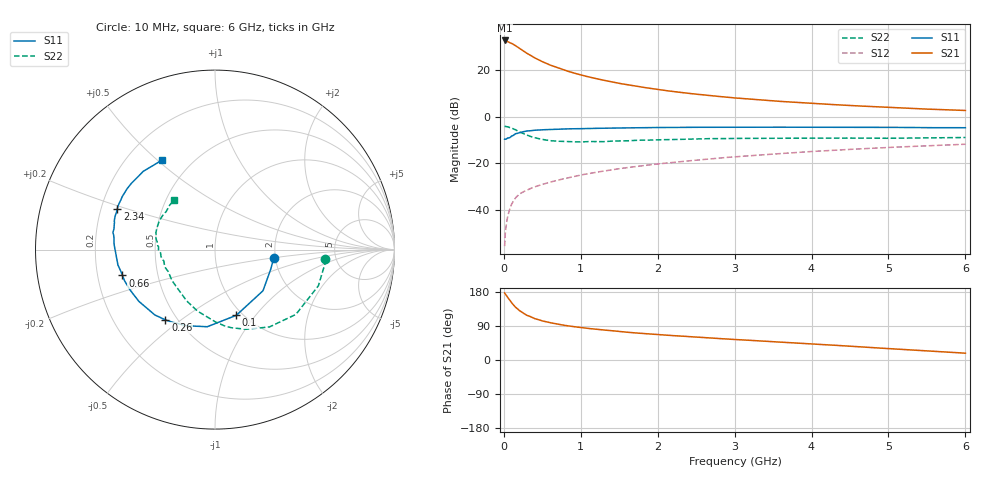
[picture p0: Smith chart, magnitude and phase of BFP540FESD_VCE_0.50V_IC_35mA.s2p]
! Infineon Technologies  Discrete & RF Semiconductors
! BFP540FESD
! VCE = 0.50 V,  IC =  35 mA
! Common Emitter S-Parameters:  Nov 2015
# GHz  S  MA  R  50
!  f  S11  S21  S12  S22
! GHz  MAG  ANG  MAG  ANG  MAG  ANG  MAG  ANG
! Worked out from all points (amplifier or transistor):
!   210 points, 10 MHz to 6 GHz, reference 50 ohm
!   highest |S21| = 32.6 dB at 10 MHz (marker M1)
!   |S21| within 3 dB of that: start of sweep to 186.8 MHz
!   unconditionally stable (mu >= 1): start of sweep to 47.03 MHz; 914 MHz to end of sweep
!   at 185 MHz: K = 0.59, MSG = 31.6 dB, |S12| = -33.6 dB
!   at 1.52 GHz: K = 1.09, MAG = 16.3 dB, |S12| = -22.2 dB
!   at 6 GHz: K = 1.19, MAG = 4.6 dB, |S12| = -11.8 dB
!   S11 on the Smith chart (normalised r, x): 10 MHz: 1.95, -0.22; 100 MHz: 0.93, -0.80; 260 MHz: 0.43, -0.44; 660 MHz: 0.31, -0.12; 2.34 GHz: 0.27, +0.19; 6 GHz: 0.34, +0.52
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0.01  0.3303 -8.6  42.61 176.9  0.0017 109.7  0.6157 -5.1
0.02  0.3291 -19.2  40.87 174.0  0.0034 97.8  0.6188 -6.7
0.05  0.3523 -40.6  40.29 165.2  0.0073 85.8  0.6103 -19.3
0.1  0.385 -72.1  37.16 151.1  0.0133 76.0  0.5775 -38.7
0.15  0.4318 -95.7  33.11 139.6  0.0181 66.4  0.5269 -54.9
0.2  0.4533 -110.6  29.21 130.8  0.022 63.6  0.4766 -68.7
0.26  0.479 -125.2  24.97 122.6  0.025 60.7  0.4308 -82.3
0.3  0.4949 -132.6  22.65 117.9  0.0269 59.1  0.4024 -89.8
0.4  0.5129 -145.8  18.13 109.3  0.0315 56.7  0.3562 -105.9
0.5  0.5244 -154.8  15.01 103.1  0.0355 56.8  0.3263 -119.0
0.6  0.5331 -161.1  12.71 98.5  0.0397 58.4  0.3072 -128.7
0.66  0.5351 -164.4  11.72 96.2  0.042 58.2  0.3012 -133.4
0.8  0.5476 -171.0  9.712 91.1  0.0479 59.2  0.2952 -144.2
1.02  0.5544 -178.6  7.657 85.2  0.0573 59.2  0.289 -155.9
1.2  0.5636 176.6  6.498 81.1  0.0645 59.3  0.2941 -163.4
1.5  0.5766 170.6  5.153 75.2  0.0772 58.5  0.3035 -173.1
2.02  0.5872 161.5  3.765 66.7  0.0977 56.5  0.3205 175.7
2.34  0.5901 157.4  3.24 62.6  0.111 54.8  0.3285 171.4
3.1  0.595 149.3  2.446 53.1  0.1421 50.1  0.3431 163.2
4.1  0.5934 140.8  1.885 41.2  0.1836 42.7  0.348 152.6
5.1  0.5892 131.3  1.557 28.9  0.2232 33.4  0.3464 140.6
6  0.5801 120.5  1.357 18.0  0.257 24.8  0.3581 129.8
